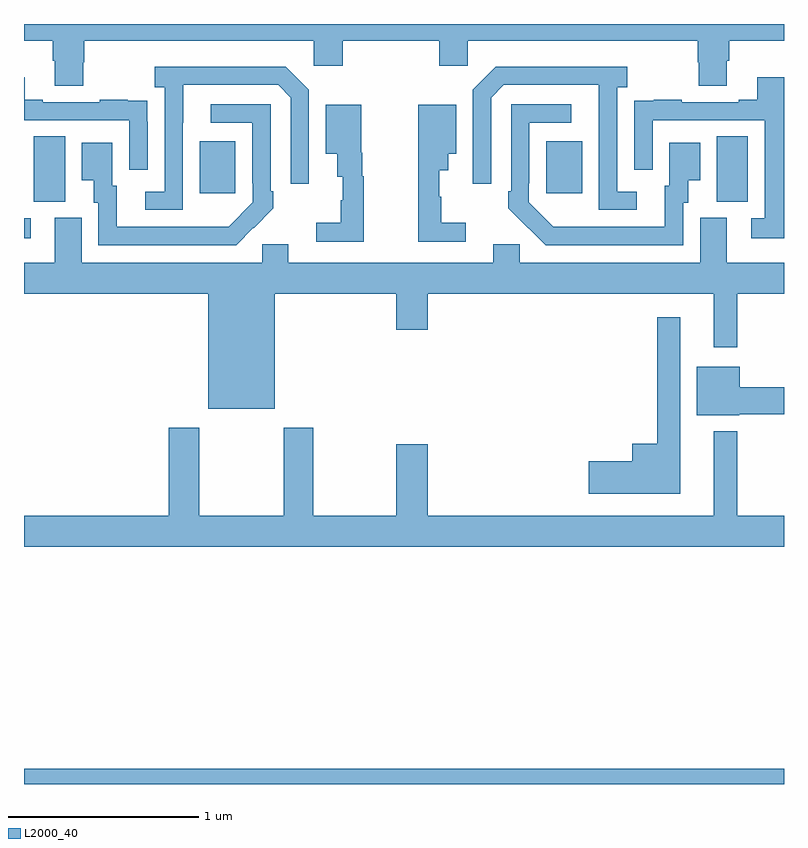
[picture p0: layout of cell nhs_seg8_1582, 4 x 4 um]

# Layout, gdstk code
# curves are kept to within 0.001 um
import gdstk
lib = gdstk.Library(unit=1e-6, precision=1e-09)
def R(c, l, rs):  # rectangles x0, y0, x1, y1
    for r in rs: c.add(gdstk.rectangle(r[:2], r[2:], *l))
def P(c, l, *ps):  # polygons
    for p in ps: c.add(gdstk.Polygon(p, *l))
L2000_40 = (2000, 40)

nhs_seg8_1582 = lib.new_cell('nhs_seg8_1582')
R(nhs_seg8_1582, L2000_40, [(211,1133.9,215,1133.98), (211,1136.772,211.036,1136.877), (211.052,1136.965,211.216,1137.308), (214.646,1136.965,214.81,1137.308), (211.925,1137.009,212.113,1137.283), (213.749,1137.009,213.937,1137.283)])
P(nhs_seg8_1582, L2000_40, [(211,1137.812),(211.151,1137.812),(211.151,1137.706),(211.163,1137.706),(211.163,1137.574),(211.311,1137.574),(211.311,1137.699),(211.316,1137.699),(211.316,1137.812),(212.526,1137.812),(212.526,1137.681),(212.678,1137.681),(212.678,1137.812),(213.185,1137.812),(213.185,1137.681),(213.336,1137.681),(213.336,1137.812),(214.547,1137.812),(214.547,1137.699),(214.552,1137.699),(214.552,1137.574),(214.699,1137.574),(214.699,1137.706),(214.712,1137.706),(214.712,1137.812),(215,1137.812),(215,1137.9),(211,1137.9)],
  [(211.836,1137.379),(211.837,1137.579),(212.337,1137.579),(212.403,1137.513),(212.403,1137.06),(212.499,1137.06),(212.499,1137.555),(212.378,1137.676),(211.689,1137.676),(211.689,1137.566),(211.74,1137.566),(211.74,1137.018),(211.638,1137.018),(211.638,1136.922),(211.836,1136.922)],
  [(214.225,1137.018),(214.122,1137.018),(214.122,1137.566),(214.174,1137.566),(214.174,1137.676),(213.484,1137.676),(213.363,1137.555),(213.363,1137.06),(213.459,1137.06),(213.459,1137.513),(213.525,1137.579),(214.025,1137.579),(214.026,1136.922),(214.225,1136.922)],
  [(215,1137.619),(214.859,1137.619),(214.859,1137.502),(214.763,1137.502),(214.763,1137.489),(214.463,1137.489),(214.463,1137.502),(214.315,1137.502),(214.315,1137.495),(214.213,1137.495),(214.213,1137.386),(214.212,1137.386),(214.212,1137.132),(214.308,1137.132),(214.308,1137.393),(214.899,1137.393),(214.899,1136.877),(214.827,1136.877),(214.827,1136.772),(215,1136.772)],
  [(211.65,1137.386),(211.649,1137.386),(211.649,1137.495),(211.547,1137.495),(211.547,1137.502),(211.399,1137.502),(211.399,1137.489),(211.099,1137.489),(211.099,1137.502),(211.003,1137.502),(211.003,1137.619),(211,1137.619),(211,1137.393),(211.554,1137.393),(211.554,1137.132),(211.65,1137.132)],
  [(212.207,1136.827),(212.208,1136.826),(212.313,1136.931),(212.313,1137.019),(212.298,1137.019),(212.298,1137.477),(211.983,1137.477),(211.983,1137.381),(212.202,1137.381),(212.202,1137.061),(212.205,1137.061),(212.205,1136.961),(212.077,1136.833),(211.489,1136.832),(211.489,1137.048),(211.465,1137.048),(211.465,1137.274),(211.304,1137.274),(211.304,1137.077),(211.367,1137.077),(211.367,1136.958),(211.392,1136.958),(211.392,1136.736),(212.116,1136.736)],
  [(214.47,1136.958),(214.495,1136.958),(214.495,1137.077),(214.558,1137.077),(214.558,1137.274),(214.397,1137.274),(214.397,1137.048),(214.373,1137.048),(214.373,1136.832),(213.786,1136.833),(213.657,1136.961),(213.657,1137.061),(213.66,1137.061),(213.66,1137.381),(213.88,1137.381),(213.88,1137.477),(213.564,1137.477),(213.564,1137.019),(213.549,1137.019),(213.549,1136.931),(213.746,1136.736),(214.47,1136.736)],
  [(212.788,1137.099),(212.78,1137.099),(212.78,1137.222),(212.776,1137.222),(212.776,1137.475),(212.588,1137.475),(212.588,1137.218),(212.648,1137.218),(212.648,1137.095),(212.678,1137.095),(212.678,1136.973),(212.667,1136.973),(212.667,1136.853),(212.538,1136.853),(212.538,1136.754),(212.788,1136.754)],
  [(213.325,1136.855),(213.196,1136.855),(213.196,1136.991),(213.185,1136.991),(213.185,1137.131),(213.232,1137.131),(213.232,1137.218),(213.274,1137.218),(213.274,1137.475),(213.074,1137.475),(213.074,1137.135),(213.075,1137.135),(213.075,1136.754),(213.325,1136.754)],
  [(212.32,1136.48),(212.96,1136.48),(212.96,1136.292),(213.124,1136.292),(213.124,1136.48),(214.631,1136.48),(214.631,1136.199),(214.753,1136.199),(214.753,1136.48),(215,1136.48),(215,1136.644),(214.699,1136.644),(214.699,1136.88),(214.559,1136.88),(214.559,1136.644),(213.609,1136.644),(213.609,1136.742),(213.47,1136.742),(213.47,1136.644),(212.392,1136.644),(212.392,1136.742),(212.253,1136.742),(212.253,1136.644),(211.303,1136.644),(211.303,1136.88),(211.163,1136.88),(211.163,1136.644),(211,1136.644),(211,1136.48),(211.97,1136.48),(211.97,1135.874),(212.32,1135.874)],
  [(214.453,1136.356),(214.332,1136.356),(214.332,1135.69),(214.202,1135.69),(214.202,1135.598),(213.972,1135.598),(213.972,1135.427),(214.453,1135.427)],
  [(214.764,1135.847),(215,1135.847),(215,1135.989),(214.768,1135.989),(214.768,1136.095),(214.541,1136.095),(214.541,1135.841),(214.764,1135.841)],
  [(215,1135.312),(214.753,1135.312),(214.753,1135.756),(214.631,1135.756),(214.631,1135.312),(213.124,1135.312),(213.124,1135.687),(212.96,1135.687),(212.96,1135.312),(212.523,1135.312),(212.523,1135.774),(212.368,1135.774),(212.368,1135.312),(211.923,1135.312),(211.923,1135.774),(211.763,1135.774),(211.763,1135.312),(211,1135.312),(211,1135.148),(215,1135.148)])

lib.write_gds('nhs_seg8_1582.gds')
